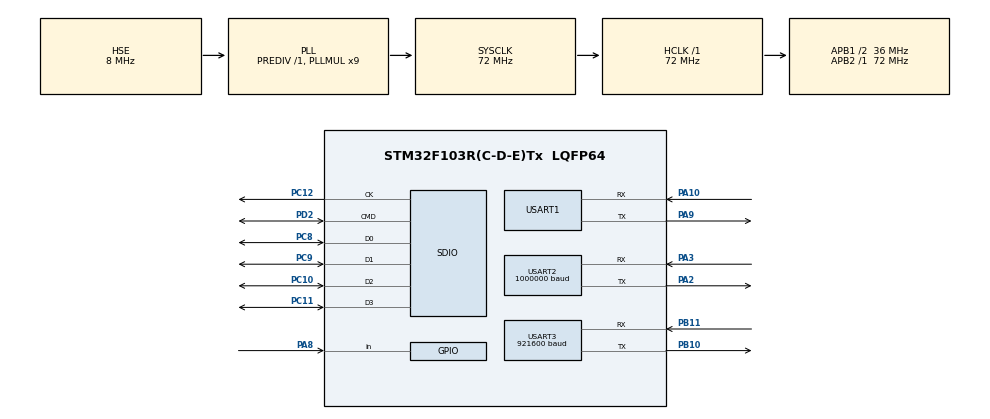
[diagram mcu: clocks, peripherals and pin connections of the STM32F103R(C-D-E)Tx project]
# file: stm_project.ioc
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Dma.Request0=USART3_RX
Dma.Request1=USART2_RX
Dma.Request2=SDIO
Dma.Request3=USART3_TX
Dma.SDIO.2.Direction=DMA_PERIPH_TO_MEMORY
Dma.SDIO.2.Instance=DMA2_Channel4
Dma.SDIO.2.MemDataAlignment=DMA_MDATAALIGN_WORD
Dma.SDIO.2.MemInc=DMA_MINC_ENABLE
Dma.SDIO.2.Mode=DMA_NORMAL
Dma.SDIO.2.PeriphDataAlignment=DMA_PDATAALIGN_WORD
Dma.SDIO.2.PeriphInc=DMA_PINC_DISABLE
Dma.SDIO.2.Priority=DMA_PRIORITY_LOW
Dma.USART2_RX.1.Direction=DMA_PERIPH_TO_MEMORY
Dma.USART2_RX.1.Instance=DMA1_Channel6
Dma.USART2_RX.1.MemDataAlignment=DMA_MDATAALIGN_BYTE
Dma.USART2_RX.1.MemInc=DMA_MINC_ENABLE
Dma.USART2_RX.1.Mode=DMA_CIRCULAR
Dma.USART2_RX.1.PeriphDataAlignment=DMA_PDATAALIGN_BYTE
Dma.USART2_RX.1.PeriphInc=DMA_PINC_DISABLE
Dma.USART2_RX.1.Priority=DMA_PRIORITY_LOW
Dma.USART3_RX.0.Direction=DMA_PERIPH_TO_MEMORY
Dma.USART3_RX.0.Instance=DMA1_Channel3
Dma.USART3_RX.0.MemDataAlignment=DMA_MDATAALIGN_BYTE
Dma.USART3_RX.0.MemInc=DMA_MINC_ENABLE
Dma.USART3_RX.0.Mode=DMA_CIRCULAR
Dma.USART3_RX.0.PeriphDataAlignment=DMA_PDATAALIGN_BYTE
Dma.USART3_RX.0.PeriphInc=DMA_PINC_DISABLE
Dma.USART3_RX.0.Priority=DMA_PRIORITY_LOW
Dma.USART3_TX.3.Direction=DMA_MEMORY_TO_PERIPH
Dma.USART3_TX.3.Instance=DMA1_Channel2
Dma.USART3_TX.3.MemDataAlignment=DMA_MDATAALIGN_BYTE
Dma.USART3_TX.3.MemInc=DMA_MINC_ENABLE
Dma.USART3_TX.3.Mode=DMA_NORMAL
Dma.USART3_TX.3.PeriphDataAlignment=DMA_PDATAALIGN_BYTE
Dma.USART3_TX.3.PeriphInc=DMA_PINC_DISABLE
Dma.USART3_TX.3.Priority=DMA_PRIORITY_MEDIUM
FATFS.BSP.number=1
FATFS._CODE_PAGE=437
FATFS._MAX_LFN=64
FATFS._USE_LFN=2
FATFS0.BSP.STBoard=false
FATFS0.BSP.api=Unknown
FATFS0.BSP.instance=PA8
FATFS0.BSP.ip=GPIO
FATFS0.BSP.mode=Input
FATFS0.BSP.name=Detect_SDIO
FATFS0.BSP.solution=PA8
Mcu.Family=STM32F1
Mcu.Name=STM32F103R(C-D-E)Tx
Mcu.Package=LQFP64
NVIC.DMA1_Channel3_IRQn=true\:0\:0\:false\:false\:true\:false\:true\:true
NVIC.DMA1_Channel6_IRQn=true\:0\:0\:false\:false\:true\:false\:true\:true
NVIC.DMA2_Channel4_5_IRQn=true\:0\:0\:false\:false\:true\:false\:true\:true
NVIC.PriorityGroup=NVIC_PRIORITYGROUP_4
NVIC.DMA1_Channel2_IRQn=true\:1\:0\:false\:false\:true\:true\:true\:true
NVIC.SDIO_IRQn=true\:0\:0\:false\:false\:true\:true\:true\:true
NVIC.TIM1_UP_IRQn=true\:0\:0\:false\:false\:true\:true\:true\:true
NVIC.USART1_IRQn=true\:0\:0\:false\:false\:true\:true\:true\:true
NVIC.USART2_IRQn=true\:0\:0\:false\:false\:true\:true\:true\:true
NVIC.USART3_IRQn=true\:0\:0\:false\:false\:true\:true\:true\:true
PA10.Mode=Asynchronous
PA10.Signal=USART1_RX
PA13.Mode=Serial_Wire
PA13.Signal=SYS_JTMS-SWDIO
PA14.Mode=Serial_Wire
PA14.Signal=SYS_JTCK-SWCLK
PA2.Mode=Asynchronous
PA2.Signal=USART2_TX
PA3.Mode=Asynchronous
PA3.Signal=USART2_RX
PA8.Signal=GPIO_Input
PA9.Mode=Asynchronous
PA9.Signal=USART1_TX
PB10.Mode=Asynchronous
PB10.Signal=USART3_TX
PB11.Mode=Asynchronous
PB11.Signal=USART3_RX
PC10.Mode=SD_4_bits_Wide_bus
PC10.Signal=SDIO_D2
PC11.Mode=SD_4_bits_Wide_bus
PC11.Signal=SDIO_D3
PC12.Mode=SD_4_bits_Wide_bus
PC12.Signal=SDIO_CK
PC8.Mode=SD_4_bits_Wide_bus
PC8.Signal=SDIO_D0
PC9.Mode=SD_4_bits_Wide_bus
PC9.Signal=SDIO_D1
PD0-OSC_IN.Mode=HSE-External-Oscillator
PD0-OSC_IN.Signal=RCC_OSC_IN
PD1-OSC_OUT.Mode=HSE-External-Oscillator
PD1-OSC_OUT.Signal=RCC_OSC_OUT
PD2.Mode=SD_4_bits_Wide_bus
PD2.Signal=SDIO_CMD
ProjectManager.HeapSize=0x200
ProjectManager.StackSize=0x1000
ProjectManager.TargetToolchain=MDK-ARM V5.32
RCC.AHBFreq_Value=72000000
RCC.APB1CLKDivider=RCC_HCLK_DIV2
RCC.APB1Freq_Value=36000000
RCC.APB1TimFreq_Value=72000000
RCC.APB2Freq_Value=72000000
RCC.APB2TimFreq_Value=72000000
RCC.HCLKFreq_Value=72000000
RCC.PLLMUL=RCC_PLL_MUL9
RCC.PLLSourceVirtual=RCC_PLLSOURCE_HSE
RCC.SYSCLKFreq_VALUE=72000000
RCC.SYSCLKSource=RCC_SYSCLKSOURCE_PLLCLK
RCC.USBFreq_Value=72000000
SDIO.ClockDiv=16
SDIO.HardwareFlowControl=SDIO_HARDWARE_FLOW_CONTROL_ENABLE
TIM1.Period=1000-1
TIM1.Prescaler=72-1
USART1.VirtualMode=VM_ASYNC
USART2.BaudRate=1000000
USART2.VirtualMode=VM_ASYNC
USART3.BaudRate=921600
USART3.VirtualMode=VM_ASYNC
VP_FATFS_VS_SDIO.Mode=SDIO
VP_IWDG_VS_IWDG.Mode=IWDG_Activate
VP_TIM1_VS_ClockSourceINT.Mode=Internal
board=custom

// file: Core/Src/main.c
/* USER CODE BEGIN Header */
/**
  ******************************************************************************
  * @file           : main.c
  * @brief          : STM32F103RET6 主控应用入口
  *                   ├─ HAL 初始化（时钟 / GPIO / DMA / IWDG / SDIO / FATFS）
  *                   ├─ 应用层初始化（UART2/3 DMA RX + TIM1 1ms 中断 + SD 卡）
  *                   └─ 主循环：UART 帧解析 + 喂狗
  *
  * 数据链路总览：
  *   胶囊（nRF52 TX）──2.4GHz Radio──>  RF 接收板（nRF52 RX）
  *                                              │
  *                                              │  UART2 1Mbps（RF 板 → STM32）
  *                                              ▼
  *                                       本 STM32 主控  ──UART3 921600bit/s──> PC
  *                                              │
  *                                              │  SD 卡 FATFS（Y<SN>.YS）
  *                                              ▼
  *                                          SD 存储
  *
  * 本文件职责：
  *   - 配置 72MHz 系统时钟（HSE 8MHz × PLL9）
  *   - 初始化 HAL 外设（GPIO/DMA/IWDG/TIM/USART/SDIO/FATFS）
  *   - 启动应用层服务（AppLog / AppUartRx / SdStorage）
  *   - 主循环：UART 帧处理 + IWDG 喂狗
  ******************************************************************************
  * @attention
  *
  * Copyright (c) 2026 STMicroelectronics.
  * All rights reserved.
  ******************************************************************************
  */
/* USER CODE END Header */

// HAL 与 BSP 标准头
#include "main.h"           // 主头文件（HAL 配置）
#include "dma.h"            // DMA 控制器（USART2/3 RX 用 DMA 搬运）
#include "fatfs.h"          // FatFs 文件系统（SD 卡读写）
#include "iwdg.h"           // 独立看门狗（防止系统死锁）
#include "sdio.h"           // SDIO 接口（SD 卡底层驱动）
#include "tim.h"            // 定时器（TIM1 1ms 中断）
#include "usart.h"          // UART1/2/3 串口驱动
#include "gpio.h"           // GPIO 配置

/* USER CODE BEGIN Includes */
// 应用层模块
#include "app_log.h"        // 日志模块（当前 usart.c 实际配置为 USART1 1Mbit/s 8N1）
#include "app_uart_rx.h"    // UART2/3 DMA RX 帧解析器（与 RF 板通信）
#include "sd_storage.h"     // SD 卡 FATFS 存储（Y<SN>.YS 文件）
/* USER CODE END Includes */

void SystemClock_Config(void);    // 系统时钟配置（HSE 8M × PLL9 = 72MHz）

/**
  * @brief  应用入口；上电后硬件初始化 → 进入主循环
  * @retval int（实际永不返回）
  *
  * 启动流程详解：
  *   ① HAL_Init()
  *        - 初始化 Flash 接口与 Systick
  *        - 配置 NVIC 优先级分组（4bit 抢占 + 4bit 子优先级）
  *        - 设置 HAL 时间基准（1ms tick）
  *
  *   ② SystemClock_Config()
  *        - HSE 8MHz × PLL9 = 72MHz 系统时钟
  *        - AHB = 72MHz（不分频）
  *        - APB1 = 36MHz（AHB/2，最大 36MHz 限制）
  *        - APB2 = 72MHz（不分频）
  *        - Flash 等待 2 个周期（72MHz 对应）
  *
  *   ③ MX_*_Init()：按以下顺序初始化
  *        - MX_GPIO_Init()         GPIO 复用映射
  *        - MX_DMA_Init()          DMA1/DMA2 控制器
  *        - MX_IWDG_Init()         独立看门狗（典型约3.28s，实际受LSI误差影响）
  *        - MX_TIM1_Init()         TIM1 1ms 周期中断
  *        - MX_USART1_UART_Init()  USART1 = 1Mbit/s 8N1（日志）
  *        - MX_USART2_UART_Init()  USART2 = 1Mbps 8N1（接 RF 板）
  *        - MX_USART3_UART_Init()  USART3 = 921600bit/s 8N1（接PC）
  *        - MX_SDIO_SD_Init()      SDIO + SD 卡底层
  *        - MX_FATFS_Init()        FatFs 文件系统
  *
  *   ④ AppLog_Init() + LOG_INFO
  *        - 初始化 USART1 日志
  *        - 打印 "System start" 启动消息
  *
  *   ⑤ AppUartRx_Init()
  *        - 启动 USART2 / USART3 的 DMA 循环接收
  *        - 失败则进入 Error_Handler（死循环 + 关闭中断）
  *
  *   ⑥ HAL_TIM_Base_Start_IT(&htim1)
  *        - 启动 TIM1 中断（1ms 周期）
  *        - 每次中断调用 AppUartRx_Timer1msCallback()
  *
  *   ⑦ SdStorage_Init()
  *        - 挂载 FATFS 到 SD 卡
  *        - 失败仅打印警告，不阻塞（应用继续运行）
  *
  *   ⑧ while(1) 主循环
  *        - AppUartRx_Process()：处理 UART2/3 接收缓冲中的帧
  *        - HAL_IWDG_Refresh()：喂狗（必须在实际IWDG超时前完成）
  *
  * 注：
  *   - UART3图片发送使用DMA；SD/FatFs写入和部分控制帧转发仍是主循环阻塞操作
  *   - SD写入前后主动喂狗，避免慢卡操作触发复位
  */
/**
 * @brief STM32主入口：初始化外设、协议和存储，然后循环处理双UART数据。
 * @return 嵌入式主循环不会退出，返回值仅满足C语言入口约定。
 *
 * 简易流程图：
 *   复位/HAL初始化
 *       → 72MHz系统时钟
 *       → GPIO/DMA/IWDG/TIM/UART/SDIO/FatFs初始化
 *       → 协议、双UART循环DMA和1ms时基启动
 *       → 挂载SD卡（失败不阻止通信）
 *       → while(1)：消费UART数据 → 协议处理 → 喂狗
 */
int main(void)
{

  /* MCU Configuration--------------------------------------------------------*/

  /* Reset of all peripherals, Initializes the Flash interface and the Systick. */
  HAL_Init();

  /* 配置系统时钟（HSE 8M × PLL9 = 72MHz） */
  SystemClock_Config();

  /* 按依赖顺序初始化所有外设 */
  MX_GPIO_Init();
  MX_DMA_Init();
  MX_IWDG_Init();
  MX_TIM1_Init();
  MX_USART1_UART_Init();
  MX_USART2_UART_Init();
  MX_USART3_UART_Init();
  MX_SDIO_SD_Init();
  MX_FATFS_Init();

  /* USER CODE BEGIN 2 */
  // 初始化日志模块。
  AppLog_Init();
  LOG_INFO("System start, USART1 log baud rate: 1Mbit");

  // 初始化 UART2/3 的 DMA 循环接收
  if (AppUartRx_Init() == 0U)
  {
    LOG_ERROR("UART2/UART3 DMA RX initialization failed");
    Error_Handler();  // 初始化失败 → 进入死循环
  }

  // 启动TIM1 1ms周期中断；当前只维护应用毫秒计数，尚未实现图片帧静默超时复位。
  if (HAL_TIM_Base_Start_IT(&htim1) != HAL_OK)
  {
    LOG_ERROR("TIM1 1 ms interrupt start failed");
    Error_Handler();
  }
  LOG_INFO("UART2/UART3 DMA RX and TIM1 started");

  // 初始化 SD 卡存储（挂载 FATFS）
  if (SdStorage_Init() == SD_STORAGE_OK)
  {
    // 成功 → 可选自检（已注释，避免 SD 卡调试卡死）
    // (void)SdStorage_RunSelfTest();
  }
  else
  {
    // 失败仅警告，不阻塞（应用继续运行，SD 相关功能失效）
    LOG_WARNING("SD card unavailable, application continues without storage");
  }
  /* USER CODE END 2 */

  /* Infinite loop */
  while (1)
  {

    /* USER CODE BEGIN 3 */
    // 处理 UART2/3 接收缓冲中的完整帧（解析 0xFF 0x55 0x12 0x34 协议）
    AppUartRx_Process();

    // 喂狗：主循环正常运行时持续刷新 IWDG
    // Prescaler=32、Reload=4095；按40kHz典型LSI估算约3.28s。
    (void)HAL_IWDG_Refresh(&hiwdg);
  }
  /* USER CODE END 3 */
}

/**
  * @brief  系统时钟配置（HSE 8MHz × PLL9 = 72MHz）
  * @retval None
  *
  * 时钟树：
  *   HSE 8MHz ─┬─→ PLL ×9 ─→ SYSCLK 72MHz
  *            └─→ （HSE 也可作为 SYSCLK 源，本工程未用）
  *   LSI ~40kHz ─→ IWDG（独立看门狗时钟源）
  *   HSI 8MHz  ─→ （备份，本工程 PLL 锁定后切换到 HSE）
  *
  * 总线分频：
  *   SYSCLK = 72MHz（PLL 输出）
  *   AHB    = SYSCLK / 1 = 72MHz
  *   APB1   = AHB / 2 = 36MHz（最大 36MHz 限制）
  *   APB2   = AHB / 1 = 72MHz
  *
  * Flash 等待：
  *   - 72MHz 对应 FLASH_LATENCY_2（2 个等待周期）
  *   - 错误配置会导致程序跑飞
  *
  * IWDG 时钟源：
  *   - LSI ~40kHz（片内 RC，独立于 HSE，HSE 故障时仍能工作）
  *   - 配置后 IWDG 无法停止（除非系统复位）
  */
void SystemClock_Config(void)
{
  RCC_OscInitTypeDef RCC_OscInitStruct = {0};
  RCC_ClkInitTypeDef RCC_ClkInitStruct = {0};

  /** 配置 RCC 振荡器（HSE + HSI + LSI + PLL） */
  RCC_OscInitStruct.OscillatorType = RCC_OSCILLATORTYPE_LSI|RCC_OSCILLATORTYPE_HSE;
  RCC_OscInitStruct.HSEState = RCC_HSE_ON;              // 启用 8MHz 外部晶振
  RCC_OscInitStruct.HSEPredivValue = RCC_HSE_PREDIV_DIV1; // HSE 不分频
  RCC_OscInitStruct.HSIState = RCC_HSI_ON;              // 启用 8MHz 内部 RC（备份）
  RCC_OscInitStruct.LSIState = RCC_LSI_ON;              // 启用 40kHz 内部 RC（IWDG 时钟）
  RCC_OscInitStruct.PLL.PLLState = RCC_PLL_ON;          // 启用 PLL
  RCC_OscInitStruct.PLL.PLLSource = RCC_PLLSOURCE_HSE;  // PLL 输入 = HSE
  RCC_OscInitStruct.PLL.PLLMUL = RCC_PLL_MUL9;          // PLL 倍频 ×9 → 72MHz
  if (HAL_RCC_OscConfig(&RCC_OscInitStruct) != HAL_OK)
  {
    Error_Handler();
  }

  /** 配置 CPU / AHB / APB 总线分频 */
  RCC_ClkInitStruct.ClockType = RCC_CLOCKTYPE_HCLK|RCC_CLOCKTYPE_SYSCLK
                              |RCC_CLOCKTYPE_PCLK1|RCC_CLOCKTYPE_PCLK2;
  RCC_ClkInitStruct.SYSCLKSource = RCC_SYSCLKSOURCE_PLLCLK;  // SYSCLK = PLL 输出 72MHz
  RCC_ClkInitStruct.AHBCLKDivider = RCC_SYSCLK_DIV1;          // AHB = 72MHz
  RCC_ClkInitStruct.APB1CLKDivider = RCC_HCLK_DIV2;          // APB1 = 36MHz
  RCC_ClkInitStruct.APB2CLKDivider = RCC_HCLK_DIV1;          // APB2 = 72MHz

  if (HAL_RCC_ClockConfig(&RCC_ClkInitStruct, FLASH_LATENCY_2) != HAL_OK)
  {
    Error_Handler();
  }
}

/* USER CODE BEGIN 4 */

/**
 * @brief  HAL 定时器周期中断回调（1ms 周期，TIM1）
 * @param  htim 触发中断的定时器句柄
 * @return None.
 * @note   由中断上下文调用，不可重入；禁止在此函数中执行阻塞操作
 *
 * 调用链：
 *   TIM1 中断（1ms）
 *     → HAL_TIM_PeriodElapsedCallback()
 *     → AppUartRx_Timer1msCallback()
 *     → 更新 UART 帧超时检测计数
 */
void HAL_TIM_PeriodElapsedCallback(TIM_HandleTypeDef *htim)
{
  if (htim->Instance == TIM1)
  {
    AppUartRx_Timer1msCallback();
  }
}

/* USER CODE END 4 */

/**
  * @brief  HAL 错误处理（中断关闭 + 死循环，等待看门狗复位）
  * @retval None
  *
  * 触发场景：
  *   - 时钟配置失败（HSE 起不来）
  *   - UART 初始化失败
  *   - SD 卡初始化失败（已警告，不调用）
  *   - 其他 HAL 外设错误
  *
  * 处理：
  *   ① __disable_irq()：关闭所有中断，防止错误状态进一步恶化
  *   ② while(1) 空循环：CPU 停止工作，等待 IWDG 超时（典型约3.28s）后系统复位
  *
  * 注：单纯死循环 + 关闭中断会导致无法调试，建议实际项目中添加
  *     错误指示灯 / 日志输出 / 远程告警等。
  */
void Error_Handler(void)
{
  __disable_irq();
  while (1)
  {
  }
}
